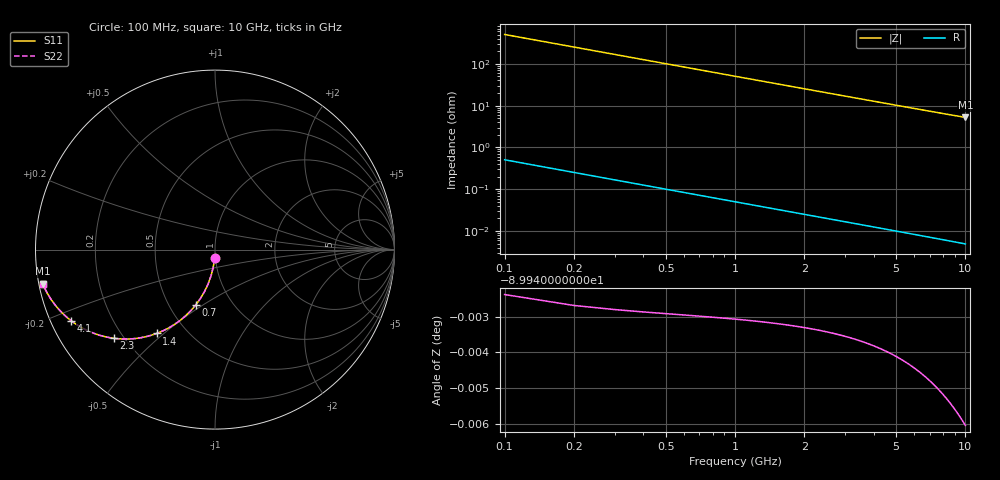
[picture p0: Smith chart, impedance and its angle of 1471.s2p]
# Hz S RI R 50.00
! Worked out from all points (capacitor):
!   100 points, 100 MHz to 10 GHz, reference 50 ohm
!   read as one part in shunt: C = 3.16 pF near 100 MHz
!   lowest |Z| = 5.22 ohm at 10 GHz (marker M1)
!   S11 on the Smith chart (normalised r, x): 100 MHz: 0.99, -0.10; 700 MHz: 0.68, -0.47; 1.4 GHz: 0.34, -0.47; 2.3 GHz: 0.16, -0.37; 4.1 GHz: 0.06, -0.23; 10 GHz: 0.01, -0.10
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1e8  -0.00249 -0.0494  0.9975 -0.0495  0.9975 -0.0495  -0.00249 -0.0494
2e8  -0.00982 -0.098  0.9902 -0.0983  0.9902 -0.0983  -0.00982 -0.098
3e8  -0.0218 -0.1453  0.9782 -0.1456  0.9782 -0.1456  -0.0218 -0.1453
4e8  -0.038 -0.1904  0.962 -0.1909  0.962 -0.1909  -0.038 -0.1904
5e8  -0.058 -0.233  0.942 -0.2336  0.942 -0.2336  -0.058 -0.233
6e8  -0.0814 -0.2726  0.9186 -0.2733  0.9186 -0.2733  -0.0814 -0.2726
7e8  -0.1075 -0.309  0.8924 -0.3097  0.8924 -0.3097  -0.1075 -0.309
8e8  -0.1359 -0.3418  0.8641 -0.3426  0.8641 -0.3426  -0.1359 -0.3418
1e9  -0.197 -0.3968  0.8029 -0.3978  0.8029 -0.3978  -0.197 -0.3968
1.2e9  -0.2609 -0.438  0.7391 -0.4392  0.7391 -0.4392  -0.2609 -0.438
1.4e9  -0.3242 -0.4669  0.6758 -0.4683  0.6758 -0.4683  -0.3242 -0.4669
1.6e9  -0.385 -0.4852  0.615 -0.4869  0.615 -0.4869  -0.385 -0.4852
1.8e9  -0.4417 -0.4951  0.5582 -0.497  0.5582 -0.497  -0.4417 -0.4951
2.3e9  -0.563 -0.4943  0.437 -0.4967  0.437 -0.4967  -0.563 -0.4943
2.8e9  -0.6557 -0.4731  0.3443 -0.4761  0.3443 -0.4761  -0.6557 -0.4731
3.4e9  -0.7369 -0.438  0.2631 -0.4416  0.2631 -0.4416  -0.7369 -0.438
4.1e9  -0.8024 -0.3955  0.1975 -0.3998  0.1975 -0.3998  -0.8024 -0.3955
5.1e9  -0.8624 -0.3412  0.1376 -0.3467  0.1376 -0.3467  -0.8624 -0.3412
5.8e9  -0.89 -0.3092  0.11 -0.3155  0.11 -0.3155  -0.89 -0.3092
6.7e9  -0.9151 -0.2745  0.0848 -0.2818  0.0848 -0.2818  -0.9151 -0.2745
8.4e9  -0.9442 -0.2243  0.0557 -0.2335  0.0557 -0.2335  -0.9442 -0.2243
1e10  -0.96 -0.1898  0.0399 -0.2008  0.0399 -0.2008  -0.96 -0.1898
